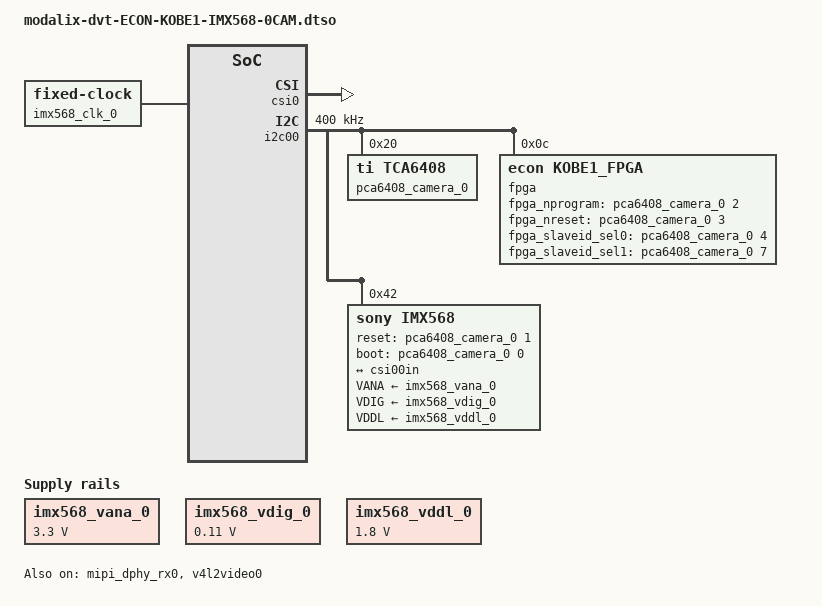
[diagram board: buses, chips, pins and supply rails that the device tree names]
// SPDX-License-Identifier: (GPL-2.0+ OR MIT)
/*
 * Copyright (c) 2024 SiMa ai
 */

/dts-v1/;
/plugin/;

&{/} {
    imx568_vana_0: csi0_fixedregulator@0 {
        compatible = "regulator-fixed";
        regulator-name = "imx568_vana_0";
        regulator-min-microvolt = <3300000>;
        regulator-max-microvolt = <3300000>;
        enable-active-high;
        startup-delay-us = <300000>;
        regulator-always-on;
    };
    imx568_vdig_0: csi0_fixedregulator@1 {
        compatible = "regulator-fixed";
        regulator-name = "imx568_vdig_0";
        regulator-min-microvolt = <110000>;
        regulator-max-microvolt = <110000>;
        regulator-always-on;
    };
    imx568_vddl_0: csi0_fixedregulator@2 {
        compatible = "regulator-fixed";
        regulator-name = "imx568_vddl_0";
        regulator-min-microvolt = <1800000>;
        regulator-max-microvolt = <1800000>;
        regulator-always-on;
    };
    imx568_clk_0: csi0_camera-clk {
        compatible = "fixed-clock";
        #clock-cells = <0>;
        clock-frequency = <37125000>;
    };
};

&csi0 {
    status = "okay";
};

&axi_vdma0 {
    status = "okay";
};

&mipi_dphy_rx0 {
    status = "okay";
};

&v4l2video0 {
    status = "okay";
};

&v4l2vdma0 {
    status = "okay";
};

&csi00in {
    clock-lanes = <0>;
    data-lanes = <1 2>;
    link-frequencies = /bits/ 64 <594000000>;
    remote-endpoint = <&cam00out>;
    clock-continuous;
};

&i2c00 {
    status = "okay";
    clock-frequency = <400000>;
    #address-cells = <1>;
    #size-cells = <0>;

   pca6408_camera_0: pca6408@20 {
		compatible = "ti,tca6408";
		gpio-controller;
		#gpio-cells = <2>;
		reg = <0x20>;
		status = "okay";
	};

    fpga: fpga@c {
		compatible = "econ,kobe1_fpga";
		reg = <0x0c>;
		status = "okay";
		fpga_nprogram-gpios = <&pca6408_camera_0 2 0>;
        fpga_nreset-gpios = <&pca6408_camera_0 3 0>;
        fpga_slaveid_sel0-gpios = <&pca6408_camera_0 4 0>;
        fpga_slaveid_sel1-gpios = <&pca6408_camera_0 7 0>;
		mipi_filter_dt1 = <0x92>;
		mipi_filter_dt2 = <0x93>;
		mipi_filter_dt3 = <0xb7>;
		mipi_filter_dt4 = <0x7f>;
		mipi_speed = <1188>;
		mipi_tx_clockmode = <0>; // Discontinuous
		mipi_rx_clockmode = <0>; // Discontinuous
	};

    imx568: imx568@42 {
        compatible = "sony,imx568";
        reg = <0x42>;

        clocks = <&imx568_clk_0>;
        clock-names = "xclk";

        VANA-supply = <&imx568_vana_0>;
        VDIG-supply = <&imx568_vdig_0>;
        VDDL-supply = <&imx568_vddl_0>;
        reset-gpios = <&pca6408_camera_0 1 0>;
        boot-gpios = <&pca6408_camera_0 0 0>;
        camera_mipi_lanes = <2>;
        cam_fw_name = "imx568_cam_fw.bin";

        port@1 {
            cam00out: endpoint@0 {
                clock-lanes = <0>;
                data-lanes = <1 2>;
                link-frequencies = /bits/ 64 <594000000>;
                remote-endpoint = <&csi00in>;
                clock-continuous;
            };
        };
    };
};
